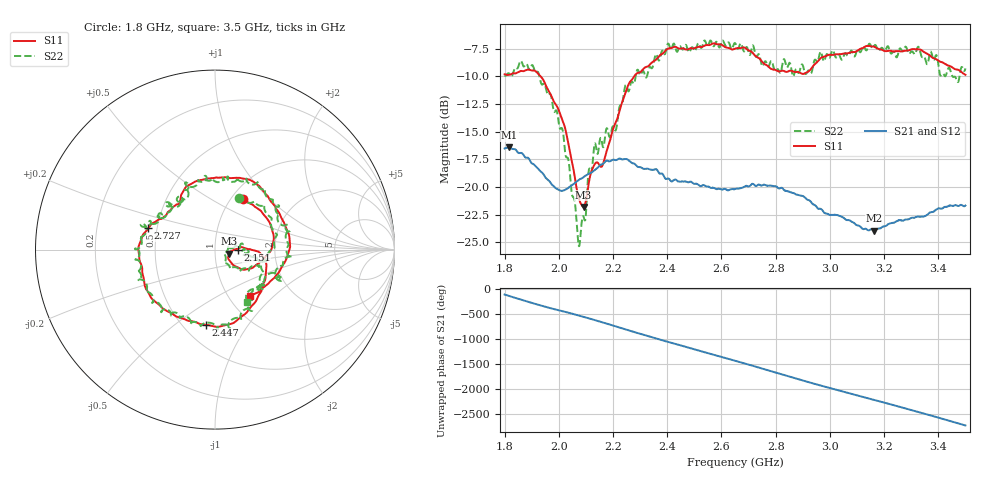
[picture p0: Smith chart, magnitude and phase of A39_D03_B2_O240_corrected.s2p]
! Created with skrf 1.9.0 (http://scikit-rf.org).
# Hz S RI R 50.0
!freq ReS11 ImS11 ReS21 ImS21 ReS12 ImS12 ReS22 ImS22
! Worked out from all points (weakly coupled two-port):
!   1601 points, 1.8 GHz to 3.5 GHz, reference 50 ohm
!   highest |S21| = -16.42 dB at 1.817 GHz (marker M1); lowest = -24.0 dB at 3.164 GHz (marker M2)
!   lowest |S11| = -21.8 dB at 2.091 GHz (marker M3), VSWR 1.18, Z = 58.4 - j2.72 ohm
!   |S11| at or under -10 dB: 1.933 GHz to 2.278 GHz (345.3 MHz wide, 16.4 % of centre)
!   |S22| runs from -25.3 to -6.8 dB; largest |S21 - S12| = 0.0026
!   S11 on the Smith chart (normalised r, x): 1.8 GHz: 1.13, +0.71; 2.151 GHz: 1.29, +0.00; 2.447 GHz: 0.64, -0.65; 2.727 GHz: 0.45, +0.12; 3.5 GHz: 1.25, -0.72
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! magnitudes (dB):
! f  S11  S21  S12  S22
! 1.8 GHz  -9.8  -16.5  -16.5  -9.9
! 1.817 GHz  -9.9  -16.4  -16.4  -9.7
! 1.903 GHz  -9.5  -17.9  -17.9  -9.0
! 1.968 GHz  -11.6  -19.6  -19.6  -11.6
! 2.015 GHz  -14.1  -20.3  -20.3  -14.9
! 2.072 GHz  -20.8  -19.4  -19.4  -25.1
! 2.084 GHz  -21.6  -19.2  -19.2  -23.4
! 2.091 GHz  -21.8  -19.1  -19.2  -22.6
! 2.113 GHz  -19.2  -18.8  -18.8  -18.3
! 2.151 GHz  -18.0  -18.1  -18.1  -15.9
! 2.209 GHz  -14.2  -17.6  -17.5  -14.9
! 2.26 GHz  -10.6  -17.7  -17.7  -11.2
! 2.367 GHz  -8.2  -18.6  -18.6  -8.5
! 2.447 GHz  -7.5  -19.5  -19.5  -7.3
! 2.65 GHz  -7.5  -20.2  -20.2  -7.0
! 2.727 GHz  -8.2  -19.9  -19.9  -8.1
! 2.934 GHz  -9.2  -21.5  -21.4  -9.6
! 3.164 GHz  -7.3  -24.0  -23.9  -7.2
! 3.217 GHz  -7.7  -23.3  -23.3  -7.4
! 3.375 GHz  -8.2  -22.3  -22.3  -7.9
! 3.468 GHz  -9.4  -21.7  -21.7  -10.4
! 3.5 GHz  -9.9  -21.7  -21.7  -9.3
